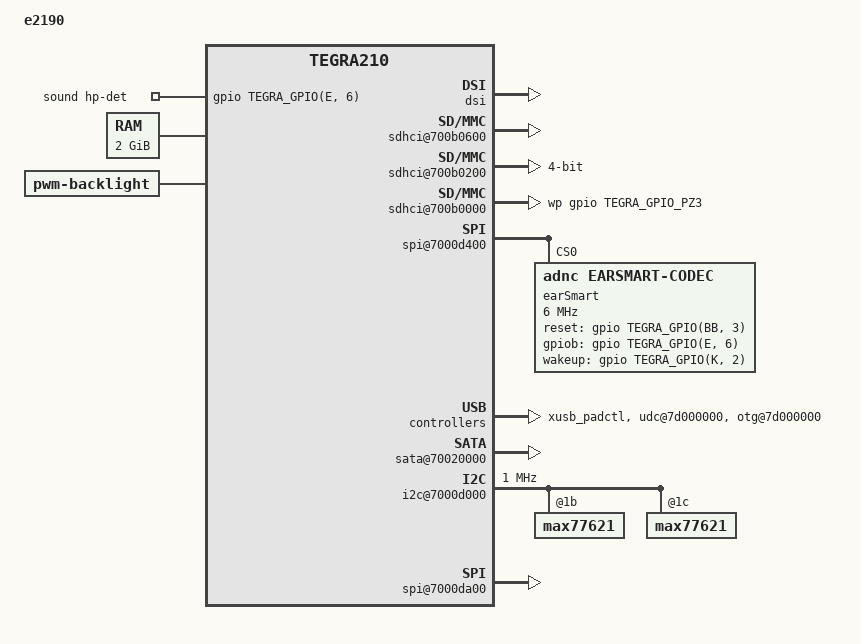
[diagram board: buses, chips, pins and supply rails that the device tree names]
/*
 * T210 POP
 *
 * arch/arm64/boot/dts/tegra210-ers-e2190-1100-a00-00.dts
 *
 * Copyright (c) 2014-2016, NVIDIA CORPORATION.  All rights reserved.
 *
 * This program is free software; you can redistribute it and/or modify
 * it under the terms of the GNU General Public License as published by
 * the Free Software Foundation; version 2 of the License.
 *
 * This program is distributed in the hope that it will be useful, but WITHOUT
 * ANY WARRANTY; without even the implied warranty of MERCHANTABILITY or
 * FITNESS FOR A PARTICULAR PURPOSE.  See the GNU General Public License for
 * more details.
 *
 * You should have received a copy of the GNU General Public License along
 * with this program; if not, write to the Free Software Foundation, Inc.,
 * 51 Franklin Street, Fifth Floor, Boston, MA  02110-1301, USA.
 *
 */

/dts-v1/;

/memreserve/ 0x80000000 0x00020000;

#include "tegra210-ers-common.dtsi"
#include "tegra210-platforms/tegra210-ers-extgpio-e2220-1170-a00.dtsi"
#include "tegra210-platforms/tegra210-ers-power-tree-e2174-1101-a00.dtsi"
#include "tegra210-platforms/tegra210-ers-sensor-e2160-1000-a00.dtsi"
#include "tegra210-platforms/tegra210-ers-gpio-e2190-1100-a00.dtsi"
#include "tegra210-platforms/tegra210-pinmux-drive-sdmmc-common.dtsi"
#include "tegra210-platforms/tegra210-ers-pinmux-e2190-1100-a00.dtsi"
#include "tegra210-platforms/tegra210-comms.dtsi"
#include "tegra210-platforms/tegra210-sdhci.dtsi"
#include "tegra210-platforms/tegra210-audio.dtsi"
#include "panel-a-wuxga-8-0.dtsi"
#include "tegra210-platforms/tegra210-ers-hdmi-e2190-1100-a00.dtsi"
#include "tegra210-platforms/tegra210-ers-keys-e2220-1170-a00.dtsi"
#include "tegra210-platforms/tegra210-edp.dtsi"
#include "tegra210-platforms/tegra210-ers-thermal-nct72-e2220-1170-a00.dtsi"
#include "tegra210-platforms/tegra210-thermal-Tboard-Tdiode.dtsi"
#include "tegra210-platforms/tegra210-ers-clk-init.dtsi"

/ {
	model = "e2190";
	compatible = "nvidia,e2190", "nvidia,tegra210";
	nvidia,boardids = "2190:1100:00;2174:1102:00";
	nvidia,dtsfilename = __FILE__;
	nvidia,proc-boardid = "2190:1100:00";
	nvidia,pmu-boardid = "2174:1102:00";
	nvidia,fastboot-usb-pid = <0x7100>;
	#address-cells = <2>;
	#size-cells = <2>;

	chosen {
		bootargs = "earlycon=uart8250,mmio32,0x70006000";
		stdout-path = &uarta;
	};

	firmware {
		android {
			compatible = "android,firmware";
			hardware = "e2190";
		};
	};

	pmc@7000e400 {
		nvidia,invert-interrupt;
		io-pad-defaults {
			audio-hv {
				nvidia,io-pad-init-voltage = <IO_PAD_VOLTAGE_1_8V>;
			};

			spi-hv {
				nvidia,io-pad-init-voltage = <IO_PAD_VOLTAGE_1_8V>;
			};

			gpio {
				nvidia,io-pad-init-voltage = <IO_PAD_VOLTAGE_1_8V>;
			};
			sdmmc1 {
				nvidia,enable-dynamic-pad-voltage;
			};
			sdmmc3 {
				nvidia,enable-dynamic-pad-voltage;
			};
		};
	};

	host1x {
		/* tegradc.0 */
		dc@54200000 {
			status = "okay";
			nvidia,dc-flags = <TEGRA_DC_FLAG_ENABLED>;
			nvidia,emc-clk-rate = <204000000>;
			nvidia,cmu-enable = <1>;
			nvidia,fb-bpp = <32>; /* bits per pixel */
			nvidia,fb-flags = <TEGRA_FB_FLIP_ON_PROBE>;
		};
		/* tegradc.1 */
		dc@54240000 {
			status = "okay";
			nvidia,dc-flags = <TEGRA_DC_FLAG_ENABLED>;
			nvidia,emc-clk-rate = <300000000>;
			nvidia,fb-bpp = <32>; /* bits per pixel */
			nvidia,fb-flags = <TEGRA_FB_FLIP_ON_PROBE>;
		};
		dsi {
			nvidia,dsi-controller-vs = <DSI_VS_1>;
			status = "okay";
			panel-a-wuxga-8-0 {
				nvidia,dsi-dpd-pads = <DSIC_DPD_EN DSID_DPD_EN>;
				nvidia,panel-rst-gpio = <&gpio TEGRA_GPIO(V, 2) 0>; /* PV2 */
				nvidia,panel-bl-pwm-gpio = <&gpio TEGRA_GPIO(H, 1) 0>; /* PH1 */
			};
		};
	};

	sdhci@700b0600 {
		vddio_sdmmc-supply = <&max77620_sd3>;
		vddio_sd_slot-supply = <&vdd_3v3>;
		uhs-mask = <0x60>;
		built-in;
		status = "okay";
	};

	sdhci@700b0400 {
		uhs-mask = <0x1c>;
		mmc-ocr-mask = <3>;
		cd-gpios = <&gpio TEGRA_GPIO_PZ2 0>;
		vddio_sdmmc-supply = <&max77620_ldo2>;
		nvidia,update-pinctrl-settings;
		pinctrl-names = "sdmmc_schmitt_enable", "sdmmc_schmitt_disable", "sdmmc_clk_schmitt_enable", "sdmmc_clk_schmitt_disable";
		pinctrl-0 = <&sdmmc3_schmitt_enable_state>;
		pinctrl-1 = <&sdmmc3_schmitt_disable_state>;
		pinctrl-2 = <&sdmmc3_clk_schmitt_enable_state>;
		pinctrl-3 = <&sdmmc3_clk_schmitt_disable_state>;
		status = "disabled";
	};

	sdhci@700b0200 {
		nvidia,is-ddr-tap-delay;
		nvidia,ddr-tap-delay = <0>;
		vddio_sdmmc-supply = <&max77620_sd3>;
		vddio_sd_slot-supply = <&vdd_3v3>;
		uhs-mask = <0x1C>;
		bus-width = <4>;
		status = "okay";
	};

	sdhci@700b0000 {
		default-drive-type = <1>;
		vddio_sdmmc-supply = <&max77620_ldo2>;
		vddio_sd_slot-supply = <&en_vdd_sd>;
		uhs-mask = <0x1c>;
		nvidia,update-pinctrl-settings;
		pinctrl-names = "sdmmc_schmitt_enable", "sdmmc_schmitt_disable", "sdmmc_clk_schmitt_enable", "sdmmc_clk_schmitt_disable";
		pinctrl-0 = <&sdmmc1_schmitt_enable_state>;
		pinctrl-1 = <&sdmmc1_schmitt_disable_state>;
		pinctrl-2 = <&sdmmc1_clk_schmitt_enable_state>;
		pinctrl-3 = <&sdmmc1_clk_schmitt_disable_state>;
		nvidia,sd-device;
		wp-gpios = <&gpio TEGRA_GPIO_PZ3 0>;
		status = "okay";
	};

	spi@7000d400 {
		status = "okay";
		earSmart: earSmart-codec@0 {
			compatible = "adnc,earSmart-codec";
			reg = <0>;
			spi-max-frequency = <6000000>;
			spi-cpha;

			adnc,reset-gpio = <&gpio TEGRA_GPIO(BB, 3) GPIO_ACTIVE_HIGH>;
			adnc,gpiob-gpio = <&gpio TEGRA_GPIO(E, 6) GPIO_ACTIVE_HIGH>;
			adnc,wakeup-gpio = <&gpio TEGRA_GPIO(K, 2) GPIO_ACTIVE_HIGH>;

			adnc,int-gpio = <(-1)>;
			adnc,gpioa-gpio = <(-1)>;
			adnc,enable_hs_uart_intf = <0>;
			adnc,ext_clk_rate = <0>;
			adnc,debounce_timer = <3>;
			adnc,plug_det_enabled = <1>;
			adnc,mic_det_enabled = <1>;

			adnc,gpio_b_irq_type = <4>;
			adnc,cmd_comp_mode = <0>;

			/* Button Control 1 */
			adnc,btn_press_settling_time = <4>;
			adnc,btn_press_polling_rate = <1>;
			adnc,btn_press_det_act = <1>;

			/* Button Control 2 */
			adnc,double_btn_timer = <(-1)>;
			adnc,mic_det_settling_timer = <(-1)>;

			/* Button Control 3 */
			adnc,long_btn_timer = <(-1)>;
			adnc,adc_btn_mute = <(-1)>;

			/* Button Control 4 */
			adnc,valid_levels = <31>;
			adnc,impd_det_timer = <0>;
		};
	};

	adma@702e2000  {
		dma-channels = <10>;
		status = "okay";
	};

	ahub {
		i2s@702d1000 {
			pinctrl-names = "dap_active", "dap_inactive";
			pinctrl-0 = <>;
			pinctrl-1 = <>;
			regulator-supplies = "vdd-1v8-audio-hv", "vdd-1v8-audio-hv-bias";
			vdd-1v8-audio-hv-supply = <&max77620_sd3>;
			vdd-1v8-audio-hv-bias-supply = <&max77620_sd3>;
		};

		i2s@702d1100 {
			pinctrl-names = "dap_active", "dap_inactive";
			pinctrl-0 = <>;
			pinctrl-1 = <>;
			regulator-supplies = "vdd-1v8-spi-hv", "vdd-1v8-spi-hv-bias";
			vdd-1v8-spi-hv-supply = <&max77620_sd3>;
			vdd-1v8-spi-hv-bias-supply = <&max77620_sd3>;
			fsync-width = <0>;
		};

		i2s@702d1300 {
			pinctrl-names = "dap_active", "dap_inactive";
			pinctrl-0 = <>;
			pinctrl-1 = <>;
			regulator-supplies = "vddio-dmic";
			vddio-dmic-supply = <&max77620_sd3>;
		};
	};

	sound {
		compatible = "nvidia,tegra-audio-t210ref-mobile-es755";
		nvidia,model = "tegra-snd-t210ref-mobile-es755";
		nvidia,hp-det-gpios = <&gpio TEGRA_GPIO(E, 6) GPIO_ACTIVE_HIGH>;
		nvidia,num-codec-link = <2>;

		nvidia,audio-routing =
			"y Headphone", 	"y OUT",
			"y IN",		"y Mic";

		nvidia,xbar = <&tegra_axbar>;

		nvidia,dai-link-1 {
			link-name = "earSmart-playback";
			cpu-dai = <&tegra_i2s1>;
			codec-dai = <&earSmart>;
			cpu-dai-name = "I2S1";
			codec-dai-name = "earSmart-porta";
			format = "i2s";
			bitclock-slave;
			frame-slave;
			bitclock-noninversion;
			frame-noninversion;
			bit-format = "s16_le";
			bclk_ratio = <0>;
			srate = <48000>;
			num-channel = <2>;
			name-prefix = "x";
		};
		nvidia,dai-link-2 {
			link-name = "spdif-dit-1";
			cpu-dai = <&tegra_i2s2>;
			codec-dai = <&spdif_dit1>;
			cpu-dai-name = "I2S2";
			codec-dai-name = "dit-hifi";
			format = "dsp_a";
			bitclock-slave;
			frame-slave;
			bitclock-inversion;
			frame-inversion;
			bit-format = "s16_le";
			bclk_ratio = <4>;
			srate = <8000>;
			num-channel = <1>;
			name-prefix = "y";
		};
	};

	memory@80000000 {
		device_type = "memory";
		reg = < 0x0 0x80000000 0x0 0x80000000>;
	};

	thermal-zones {
		PMIC-Die-max77621-0 {
			thermal-sensors = <&cpu_max77621_reg>;
			status = "okay";
		};

		PMIC-Die-max77621-1 {
			thermal-sensors = <&gpu_max77621_reg>;
			status = "okay";
		};
		Tboard_tegra {
			status = "okay";
		};
		Tdiode_tegra {
			status = "okay";
		};
	};

	xusb_padctl {
		status = "okay";
		nvidia,enable-sata-port;
	};

        sata@70020000 {
                status = "okay";
                nvidia,pexp-gpio = <&pca9539_76 11 0>, <&pca9539_76 12 0>;
                nvidia,enable-sata-port;
                hvdd_sata-supply = <&max77620_sd3>;
                vddio_pex_sata-supply = <&max77620_sd3>;
                avdd_sata-supply = <&max77620_ldo8>;
                vdd_sata-supply = <&max77620_ldo8>;
                avdd_sata_pll-supply = <&max77620_ldo8>;
        };

	dfll-ovr@70110000 {
		status = "disabled";
	};

	dfll-max77621@70110000 {
		status = "okay";
	};

	pwm_regulators {
		pwm-regulator@0 {
			status = "disabled";
		};

		pwm-regulator@1 {
			status = "disabled";
		};
	};

	i2c@7000d000 {
		max77621@1b {
			status = "okay";
		};

		max77621@1c {
			status = "okay";
		};
	};

	dvfs_rails {
		vdd-cpu-rail-ovr@0 {
			status = "disabled";
		};

		vdd-gpu-rail-ovr@1 {
			status = "disabled";
		};

		vdd-cpu-rail-max77621@2 {
			status = "okay";
		};

		vdd-gpu-rail-max77621@3 {
			status = "okay";
		};
	};

	cpuidle {
		vdd-cpu-supply = <&cpu_max77621_reg>;
		cc4-microvolt = <606250>;
	};

	spi@7000da00 {
		status = "okay";
		spi-max-frequency = <25000000>;
	};

	backlight {
		compatible = "pwm-backlight";
		status = "okay";
		panel-a-wuxga-8-0-bl {
			pwms = <&tegra_pwm 0 40161>;
		};
	};

	gpio-keys {
		home {
			status = "disabled";
		};
	};

	udc@7d000000 {
                nvidia,port-otg;
                nvidia,charging-supported;
                nvidia,enable-pmu-vbus-detection;
		nvidia,turn-off-vbus-in-lp0;
                nvidia,id-detection-type = <1>;
                extcon-cables = <&bq2419x 0>;
                extcon-cable-names = "vbus";
                #extcon-cells = <1>;
                status = "okay";
        };

        otg@7d000000 {
                nvidia,enable-pmu-vbus-detection;
                nvidia,id-detection-type = <1>;
                extcon-cables = <&bq2419x 0 &id_gpio_extcon 0>;
                extcon-cable-names = "vbus", "id";
                #extcon-cells = <1>;
                status = "okay";
        };

	i2c@7000d000 {
		clock-frequency = <1000000>;
	};

	gpu-dvfs-rework {
		status = "disabled";
	};

};
